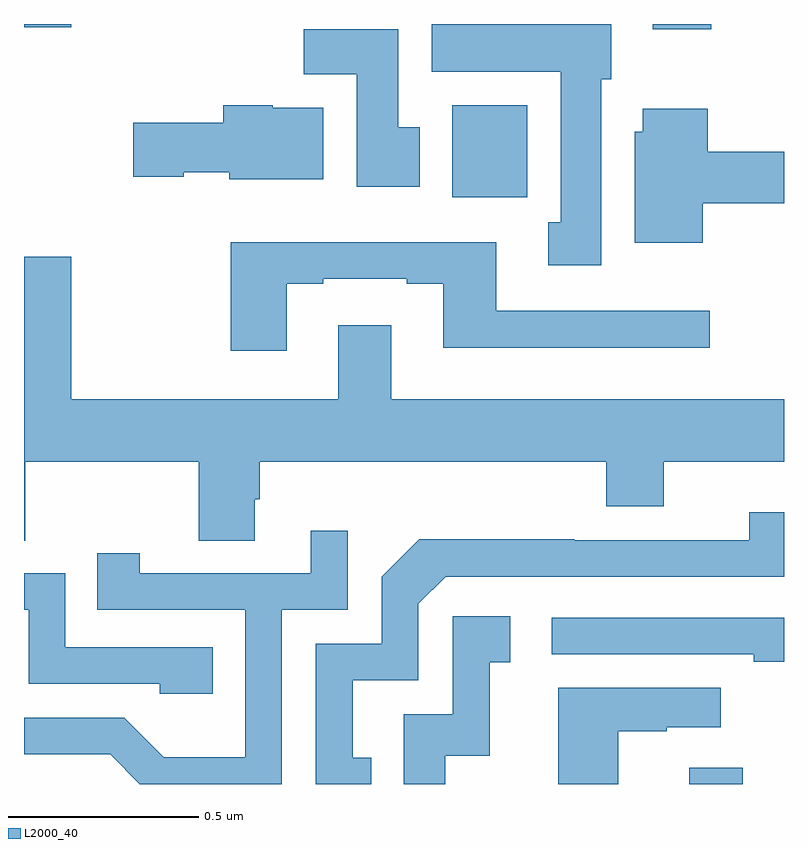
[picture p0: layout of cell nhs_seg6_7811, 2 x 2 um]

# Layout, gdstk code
import gdstk
lib = gdstk.Library(unit=1e-6, precision=1e-09)
def R(c, l, rs):  # rectangles x0, y0, x1, y1
    for r in rs: c.add(gdstk.rectangle(r[:2], r[2:], *l))
def P(c, l, *ps):  # polygons
    for p in ps: c.add(gdstk.Polygon(p, *l))
L2000_40 = (2000, 40)

nhs_seg6_7811 = lib.new_cell('nhs_seg6_7811')
R(nhs_seg6_7811, L2000_40, [(214.751,934.5,214.891,934.543), (214.127,936.044,214.324,936.286), (214.655,936.486,214.808,936.5), (213,936.492,213.124,936.5)])
P(nhs_seg6_7811, L2000_40, [(214.519,936.354),(214.546,936.354),(214.546,936.5),(214.073,936.5),(214.073,936.374),(214.412,936.374),(214.412,935.978),(214.379,935.978),(214.379,935.865),(214.519,935.865)],
  [(214.042,936.228),(213.985,936.228),(213.985,936.486),(213.736,936.486),(213.736,936.368),(213.875,936.368),(213.875,936.072),(214.042,936.072)],
  [(213.787,936.28),(213.654,936.28),(213.654,936.286),(213.524,936.286),(213.524,936.24),(213.288,936.24),(213.288,936.098),(213.42,936.098),(213.42,936.11),(213.54,936.11),(213.54,936.092),(213.787,936.092)],
  [(214.786,936.028),(215,936.028),(215,936.164),(214.799,936.164),(214.799,936.277),(214.628,936.277),(214.628,936.216),(214.607,936.216),(214.607,935.924),(214.786,935.924)],
  [(213.691,935.817),(213.787,935.817),(213.787,935.829),(214.007,935.829),(214.007,935.817),(214.103,935.817),(214.103,935.648),(214.804,935.648),(214.804,935.745),(214.243,935.745),(214.243,935.926),(213.544,935.926),(213.544,935.64),(213.691,935.64)],
  [(213.003,935.348),(213.46,935.348),(213.46,935.14),(213.607,935.14),(213.607,935.25),(213.62,935.25),(213.62,935.348),(214.532,935.348),(214.532,935.231),(214.684,935.231),(214.684,935.348),(215,935.348),(215,935.512),(213.967,935.512),(213.967,935.707),(213.827,935.707),(213.827,935.512),(213.124,935.512),(213.124,935.887),(213,935.887),(213,935.14),(213.003,935.14)],
  [(213.914,934.569),(213.865,934.569),(213.865,934.773),(214.038,934.773),(214.038,934.974),(214.11,935.046),(215,935.046),(215,935.215),(214.908,935.215),(214.908,935.142),(214.448,935.142),(214.448,935.144),(214.04,935.144),(213.942,935.046),(213.942,934.869),(213.768,934.869),(213.768,934.5),(213.914,934.5)],
  [(213.678,934.959),(213.852,934.959),(213.852,935.167),(213.755,935.167),(213.755,935.055),(213.304,935.055),(213.304,935.107),(213.193,935.107),(213.193,934.959),(213.582,934.959),(213.582,934.57),(213.368,934.57),(213.264,934.674),(213,934.674),(213,934.578),(213.227,934.578),(213.305,934.5),(213.678,934.5)],
  [(213.497,934.86),(213.108,934.86),(213.108,935.055),(213,935.055),(213,934.959),(213.012,934.959),(213.012,934.764),(213.357,934.764),(213.357,934.737),(213.497,934.737)],
  [(214.108,934.575),(214.226,934.575),(214.226,934.821),(214.279,934.821),(214.279,934.942),(214.128,934.942),(214.128,934.683),(213.999,934.683),(213.999,934.5),(214.108,934.5)],
  [(215,934.938),(214.389,934.938),(214.389,934.842),(214.921,934.842),(214.921,934.822),(215,934.822)],
  [(214.564,934.639),(214.691,934.639),(214.691,934.649),(214.834,934.649),(214.834,934.753),(214.406,934.753),(214.406,934.5),(214.564,934.5)])

lib.write_gds('nhs_seg6_7811.gds')
